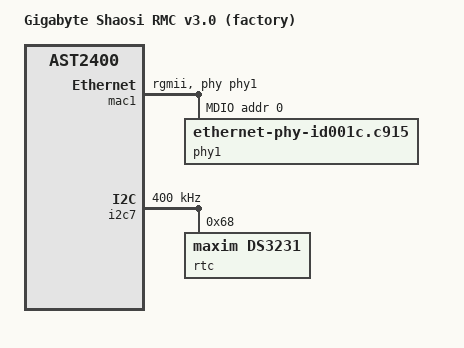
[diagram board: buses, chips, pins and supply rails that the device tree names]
/dts-v1/;
/plugin/;

#include <dt-bindings/gpio/gpio.h>
#include <dt-bindings/gpio/aspeed-gpio.h>

/ {
	compatible = "aspeed,ast2400";

	fragment@0 {
		target-path = "/";
		__overlay__ {
			model = "Gigabyte Shaosi RMC v3.0 (factory)";
		};
	};

	fragment@1 {
		target = <&mac1>;
		__overlay__ {
			status = "okay";

	no-hw-checksum;

	phy-handle = <&phy1>;
	phy-mode = "rgmii";

	pinctrl-names = "default";
	pinctrl-0 = <&pinctrl_rgmii2_default &pinctrl_mdio2_default>;

	mdio {
		phy1: phy@0 {
			compatible = "ethernet-phy-id001c.c915";
			reg = <0>;
		};
			};
		};
	};

	fragment@2 {
		target = <&i2c7>;
		__overlay__ {
			status = "okay";
			clock-frequency = <400000>;
			rtc@68 {
				compatible = "maxim,ds3231";
				reg = <0x68>;
				// interrupts = <GPIOF0>
			};
		};
	};
};
